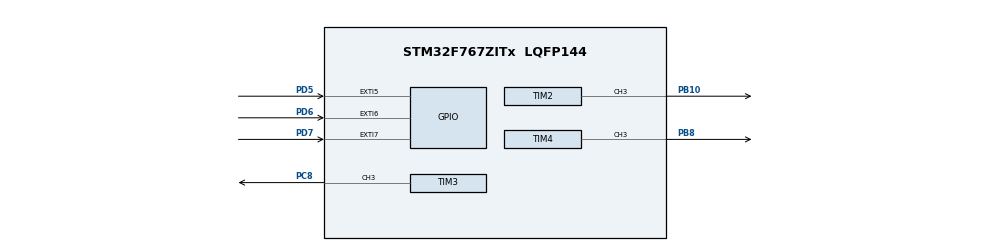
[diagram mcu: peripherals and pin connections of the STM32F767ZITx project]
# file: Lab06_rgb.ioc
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CORTEX_M7.default_mode_Activation=1
Mcu.Family=STM32F7
Mcu.Name=STM32F767ZITx
Mcu.Package=LQFP144
NVIC.EXTI9_5_IRQn=true\:0\:0\:false\:false\:true\:true\:true\:true
NVIC.PriorityGroup=NVIC_PRIORITYGROUP_4
PB10.GPIO_Speed=GPIO_SPEED_FREQ_VERY_HIGH
PB10.Signal=S_TIM2_CH3
PB8.Signal=S_TIM4_CH3
PC8.GPIO_Speed=GPIO_SPEED_FREQ_VERY_HIGH
PC8.Signal=S_TIM3_CH3
PD5.Signal=GPXTI5
PD6.Signal=GPXTI6
PD7.Signal=GPXTI7
ProjectManager.HeapSize=0x200
ProjectManager.StackSize=0x400
ProjectManager.TargetToolchain=STM32CubeIDE
RCC.HSE_VALUE=25000000
RCC.HSI_VALUE=16000000
RCC.LSE_VALUE=32768
RCC.USBFreq_Value=96000000
RCC.VCOOutputFreq_Value=192000000
SH.S_TIM2_CH3.0=TIM2_CH3,PWM Generation3 CH3
SH.S_TIM3_CH3.0=TIM3_CH3,PWM Generation3 CH3
SH.S_TIM4_CH3.0=TIM4_CH3,PWM Generation3 CH3
TIM2.Channel-PWM\ Generation3\ CH3=TIM_CHANNEL_3
TIM2.Period=5000-1
TIM2.Prescaler=64-1
TIM3.Channel-PWM\ Generation3\ CH3=TIM_CHANNEL_3
TIM3.Period=5000-1
TIM3.Prescaler=64-1
TIM4.Channel-PWM\ Generation3\ CH3=TIM_CHANNEL_3
TIM4.Period=5000-1
TIM4.Prescaler=64-1
VP_TIM2_VS_ClockSourceINT.Mode=Internal
VP_TIM3_VS_ClockSourceINT.Mode=Internal
VP_TIM4_VS_ClockSourceINT.Mode=Internal
board=custom

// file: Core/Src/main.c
/* USER CODE BEGIN Header */
/**
  ******************************************************************************
  * @file           : main.c
  * @brief          : Main program body
  ******************************************************************************
  * @attention
  *
  * Copyright (c) 2024 STMicroelectronics.
  * All rights reserved.
  *
  * This software is licensed under terms that can be found in the LICENSE file
  * in the root directory of this software component.
  * If no LICENSE file comes with this software, it is provided AS-IS.
  *
  ******************************************************************************
  */
/* USER CODE END Header */
#include "main.h"
#include "tim.h"
#include "gpio.h"

/* USER CODE BEGIN PV */
float r = 0;
float g = 0;
float b = 0;
/* USER CODE END PV */

void SystemClock_Config(void);
static void MPU_Config(void);

/* USER CODE BEGIN 0 */
void HAL_GPIO_EXTI_Callback(uint16_t GPIO_Pin){
	if(GPIO_Pin == GPIO_PIN_5){
		r += 0.2;
		if(r > 1) r = 0;
	}
	else if(GPIO_Pin == GPIO_PIN_6){
		g += 0.2;
		if(g > 1) g = 0;
	}
	else if(GPIO_Pin == GPIO_PIN_7){
		b += 0.2;
		if(b > 1) b = 0;
	}
}
/* USER CODE END 0 */

int main(void)
{

  /* MPU Configuration--------------------------------------------------------*/
  MPU_Config();

  /* MCU Configuration--------------------------------------------------------*/

  /* Reset of all peripherals, Initializes the Flash interface and the Systick. */
  HAL_Init();

  /* Configure the system clock */
  SystemClock_Config();

  /* Initialize all configured peripherals */
  MX_GPIO_Init();
  MX_TIM2_Init();
  MX_TIM3_Init();
  MX_TIM4_Init();
  /* USER CODE BEGIN 2 */
  HAL_TIM_PWM_Start(&htim2, TIM_CHANNEL_3);
  HAL_TIM_PWM_Start(&htim3, TIM_CHANNEL_3);
  HAL_TIM_PWM_Start(&htim4, TIM_CHANNEL_3);
  /* USER CODE END 2 */

  /* Infinite loop */
  while (1)
  {

    /* USER CODE BEGIN 3 */
	  htim2.Instance -> CCR3 = (5000 * r) - 1;
	  htim3.Instance -> CCR3 = (5000 * g) - 1;
	  htim4.Instance -> CCR3 = (5000 * b) - 1;
  }
  /* USER CODE END 3 */
}

void SystemClock_Config(void)
{
  RCC_OscInitTypeDef RCC_OscInitStruct = {0};
  RCC_ClkInitTypeDef RCC_ClkInitStruct = {0};

  /** Configure the main internal regulator output voltage
  */
  __HAL_RCC_PWR_CLK_ENABLE();
  __HAL_PWR_VOLTAGESCALING_CONFIG(PWR_REGULATOR_VOLTAGE_SCALE3);

  /** Initializes the RCC Oscillators according to the specified parameters
  * in the RCC_OscInitTypeDef structure.
  */
  RCC_OscInitStruct.OscillatorType = RCC_OSCILLATORTYPE_HSI;
  RCC_OscInitStruct.HSIState = RCC_HSI_ON;
  RCC_OscInitStruct.HSICalibrationValue = RCC_HSICALIBRATION_DEFAULT;
  RCC_OscInitStruct.PLL.PLLState = RCC_PLL_NONE;
  if (HAL_RCC_OscConfig(&RCC_OscInitStruct) != HAL_OK)
  {
    Error_Handler();
  }

  /** Initializes the CPU, AHB and APB buses clocks
  */
  RCC_ClkInitStruct.ClockType = RCC_CLOCKTYPE_HCLK|RCC_CLOCKTYPE_SYSCLK
                              |RCC_CLOCKTYPE_PCLK1|RCC_CLOCKTYPE_PCLK2;
  RCC_ClkInitStruct.SYSCLKSource = RCC_SYSCLKSOURCE_HSI;
  RCC_ClkInitStruct.AHBCLKDivider = RCC_SYSCLK_DIV1;
  RCC_ClkInitStruct.APB1CLKDivider = RCC_HCLK_DIV1;
  RCC_ClkInitStruct.APB2CLKDivider = RCC_HCLK_DIV1;

  if (HAL_RCC_ClockConfig(&RCC_ClkInitStruct, FLASH_LATENCY_0) != HAL_OK)
  {
    Error_Handler();
  }
}

 /* MPU Configuration */

void MPU_Config(void)
{
  MPU_Region_InitTypeDef MPU_InitStruct = {0};

  /* Disables the MPU */
  HAL_MPU_Disable();

  /** Initializes and configures the Region and the memory to be protected
  */
  MPU_InitStruct.Enable = MPU_REGION_ENABLE;
  MPU_InitStruct.Number = MPU_REGION_NUMBER0;
  MPU_InitStruct.BaseAddress = 0x0;
  MPU_InitStruct.Size = MPU_REGION_SIZE_4GB;
  MPU_InitStruct.SubRegionDisable = 0x87;
  MPU_InitStruct.TypeExtField = MPU_TEX_LEVEL0;
  MPU_InitStruct.AccessPermission = MPU_REGION_NO_ACCESS;
  MPU_InitStruct.DisableExec = MPU_INSTRUCTION_ACCESS_DISABLE;
  MPU_InitStruct.IsShareable = MPU_ACCESS_SHAREABLE;
  MPU_InitStruct.IsCacheable = MPU_ACCESS_NOT_CACHEABLE;
  MPU_InitStruct.IsBufferable = MPU_ACCESS_NOT_BUFFERABLE;

  HAL_MPU_ConfigRegion(&MPU_InitStruct);
  /* Enables the MPU */
  HAL_MPU_Enable(MPU_PRIVILEGED_DEFAULT);

}

void Error_Handler(void)
{
  __disable_irq();
  while (1)
  {
  }
}
